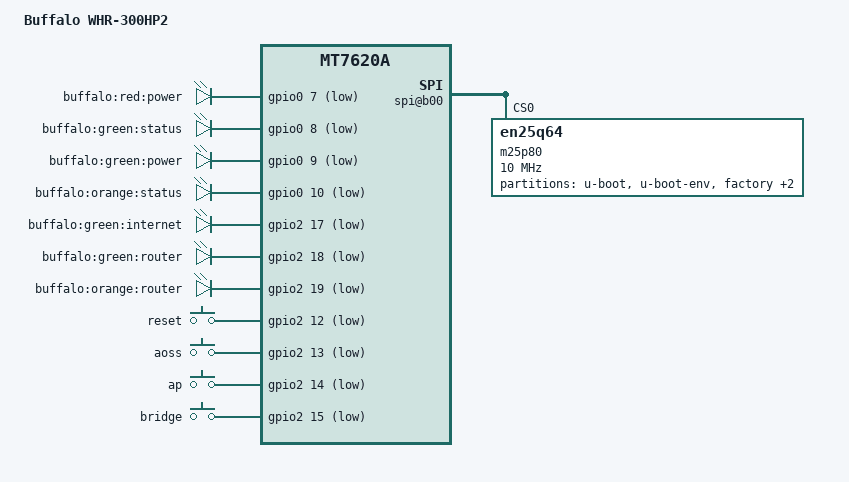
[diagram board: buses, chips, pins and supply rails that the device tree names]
/dts-v1/;

/include/ "mt7620a.dtsi"

/ {
	compatible = "ralink,mt7620a-soc";
	model = "Buffalo WHR-300HP2";

	palmbus@10000000 {
		gpio2: gpio@660 {
			status = "okay";
		};

		spi@b00 {
			status = "okay";

			m25p80@0 {
				#address-cells = <1>;
				#size-cells = <1>;
				compatible = "en25q64";
				reg = <0 0>;
				linux,modalias = "m25p80", "s25fl064k";
				spi-max-frequency = <10000000>;

				partition@0 {
					label = "u-boot";
					reg = <0x0 0x30000>;
					read-only;
				};

				partition@30000 {
					label = "u-boot-env";
					reg = <0x30000 0x10000>;
					read-only;
				};

				factory: partition@40000 {
					label = "factory";
					reg = <0x40000 0x10000>;
					read-only;
				};

				partition@50000 {
					label = "firmware";
					reg = <0x50000 0x5b0000>;
				};

				partition@600000 {
					label = "usercfg";
					reg = <0x600000 0x100000>;
				};
			};
		};
	};

	pinctrl {
		state_default: pinctrl0 {
			gpio {
				ralink,group = "i2c", "uartf", "rgmii1", "rgmii2", "wled", "nd_sd";
				ralink,function = "gpio";
			};
			pa {
				ralink,group = "pa";
				ralink,function = "pa";
			};
		};
	};

	ethernet@10100000 {
		pinctrl-names = "default";
		pinctrl-0 = <&ephy_pins>;

		ralink,port-map = "llllw";
	};

	gsw@10110000 {
		ralink,port4 = "ephy";
	};

	wmac@10180000 {
		ralink,mtd-eeprom = <&factory 0>;
	};

	gpio-leds {
		compatible = "gpio-leds";
		power {
			label = "buffalo:red:power";
			gpios = <&gpio0 7 1>;
		};
		status {
			label = "buffalo:green:status";
			gpios = <&gpio0 8 1>;
		};
		power2 {
			label = "buffalo:green:power";
			gpios = <&gpio0 9 1>;
		};
		status2 {
			label = "buffalo:orange:status";
			gpios = <&gpio0 10 1>;
		};
		internet {
			label = "buffalo:green:internet";
			gpios = <&gpio2 17 1>;
		};
		router {
			label = "buffalo:green:router";
			gpios = <&gpio2 18 1>;
		};
		router2 {
			label = "buffalo:orange:router";
			gpios = <&gpio2 19 1>;
		};
	};

	gpio-keys-polled {
		compatible = "gpio-keys-polled";
		#address-cells = <1>;
		#size-cells = <0>;
		poll-interval = <20>;
		s1 {
			label = "reset";
			gpios = <&gpio2 12 1>;
			linux,code = <0x100>;
		};
		s2 {
			label = "aoss";
			gpios = <&gpio2 13 1>;
			linux,code = <0x101>;
		};
		s3 {
			label = "ap";
			gpios = <&gpio2 14 1>;
			linux,code = <0x102>;
		};
		s4 {
			label = "bridge";
			gpios = <&gpio2 15 1>;
			linux,code = <0x103>;
		};
	};
};
